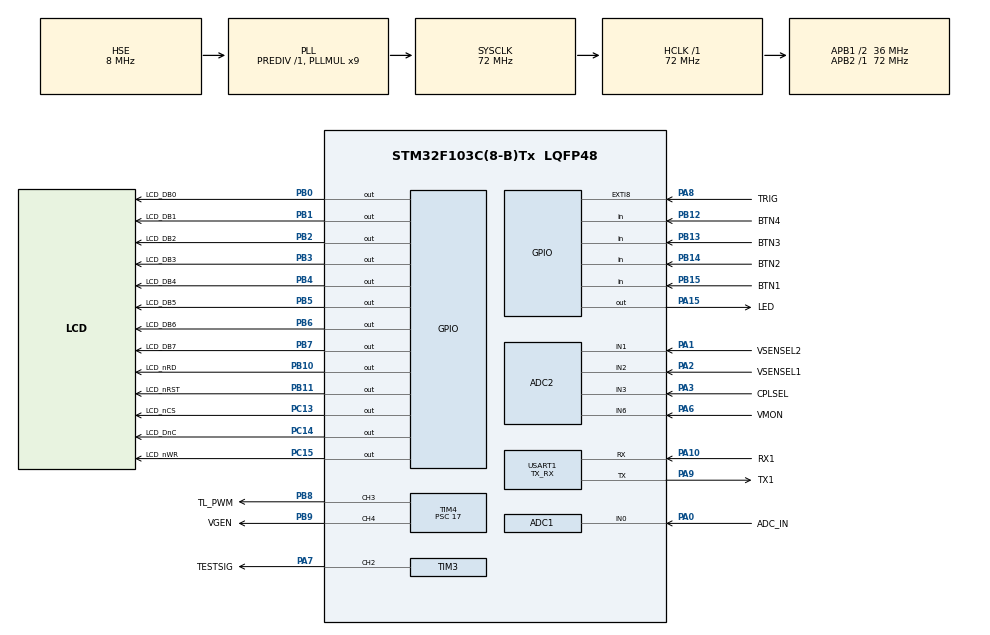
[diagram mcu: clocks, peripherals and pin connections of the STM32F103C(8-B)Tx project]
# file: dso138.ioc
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ADC1.Channel-3\#ChannelRegularConversion=ADC_CHANNEL_0
ADC1.ContinuousConvMode=DISABLE
ADC1.EnableRegularConversion=ENABLE
ADC1.ExternalTrigConv=ADC_EXTERNALTRIGCONV_T2_CC2
ADC1.InjNumberOfConversion=0
ADC1.NbrOfConversion=1
ADC1.NbrOfConversionFlag=1
ADC1.Rank-3\#ChannelRegularConversion=1
ADC1.SamplingTime-3\#ChannelRegularConversion=ADC_SAMPLETIME_1CYCLE_5
ADC1.master=1
ADC2.Channel-1\#ChannelRegularConversion=ADC_CHANNEL_1
ADC2.ContinuousConvMode=ENABLE
ADC2.NbrOfConversion=1
ADC2.NbrOfConversionFlag=1
ADC2.Rank-1\#ChannelRegularConversion=1
ADC2.SamplingTime-1\#ChannelRegularConversion=ADC_SAMPLETIME_1CYCLE_5
Dma.ADC1.0.Direction=DMA_PERIPH_TO_MEMORY
Dma.ADC1.0.Instance=DMA1_Channel1
Dma.ADC1.0.MemDataAlignment=DMA_MDATAALIGN_HALFWORD
Dma.ADC1.0.MemInc=DMA_MINC_ENABLE
Dma.ADC1.0.Mode=DMA_CIRCULAR
Dma.ADC1.0.PeriphDataAlignment=DMA_PDATAALIGN_HALFWORD
Dma.ADC1.0.PeriphInc=DMA_PINC_DISABLE
Dma.ADC1.0.Priority=DMA_PRIORITY_HIGH
Dma.Request0=ADC1
FREERTOS.BinarySemaphores01=sem_adc_done,Dynamic,NULL
FREERTOS.HEAP_NUMBER=1
FREERTOS.INCLUDE_uxTaskPriorityGet=0
FREERTOS.INCLUDE_vTaskDelayUntil=1
FREERTOS.INCLUDE_vTaskDelete=0
FREERTOS.INCLUDE_vTaskPrioritySet=0
FREERTOS.INCLUDE_vTaskSuspend=0
FREERTOS.MEMORY_ALLOCATION=0
FREERTOS.Queues01=queue_adc_request,1,tQueueAdcRequest,0,Dynamic,NULL,NULL;queue_buttons_event,4,tWidgetEvent,0,Dynamic,NULL,NULL
FREERTOS.Tasks01=defaultTask,0,128,StartDefaultTask,Default,NULL,Dynamic,NULL,NULL;adc,2,128,task_adc,As external,NULL,Dynamic,NULL,NULL;imgui,-2,128,task_imgui,As external,NULL,Dynamic,NULL,NULL;user_input,-2,128,task_user_input,As external,NULL,Dynamic,NULL,NULL;dso,0,128,task_dso,As external,NULL,Dynamic,NULL,NULL
FREERTOS.configTOTAL_HEAP_SIZE=4000
FREERTOS.configUSE_TASK_NOTIFICATIONS=0
Mcu.Family=STM32F1
Mcu.Name=STM32F103C(8-B)Tx
Mcu.Package=LQFP48
NVIC.DMA1_Channel1_IRQn=true\:7\:0\:true\:false\:true\:true\:false\:true
NVIC.EXTI9_5_IRQn=true\:6\:0\:true\:false\:true\:true\:true\:true
NVIC.PriorityGroup=NVIC_PRIORITYGROUP_4
NVIC.TIM1_UP_IRQn=true\:0\:0\:false\:false\:true\:false\:false\:true
NVIC.TimeBase=TIM1_UP_IRQn
NVIC.TimeBaseIP=TIM1
NVIC.USART1_IRQn=true\:6\:0\:true\:false\:true\:true\:true\:true
PA0-WKUP.GPIO_Label=ADC_IN
PA0-WKUP.Signal=ADCx_IN0
PA1.GPIO_Label=VSENSEL2
PA1.Signal=ADCx_IN1
PA10.GPIO_Label=RX1
PA10.Mode=Asynchronous
PA10.Signal=USART1_RX
PA13.GPIO_Label=SWDIO
PA13.Mode=Serial_Wire
PA13.Signal=SYS_JTMS-SWDIO
PA14.GPIO_Label=SWCLK
PA14.Mode=Serial_Wire
PA14.Signal=SYS_JTCK-SWCLK
PA15.GPIO_Label=LED
PA15.PinState=GPIO_PIN_SET
PA15.Signal=GPIO_Output
PA2.GPIO_Label=VSENSEL1
PA2.Signal=ADCx_IN2
PA3.GPIO_Label=CPLSEL
PA3.Signal=ADCx_IN3
PA6.GPIO_Label=VMON
PA6.Signal=ADCx_IN6
PA7.GPIO_Label=TESTSIG
PA7.GPIO_Speed=GPIO_SPEED_FREQ_HIGH
PA7.Signal=S_TIM3_CH2
PA8.GPIO_Label=TRIG
PA8.GPIO_ModeDefaultEXTI=GPIO_MODE_IT_RISING
PA8.Signal=GPXTI8
PA9.GPIO_Label=TX1
PA9.Mode=Asynchronous
PA9.Signal=USART1_TX
PB0.GPIO_Label=LCD_DB0
PB0.GPIO_Speed=GPIO_SPEED_FREQ_HIGH
PB0.Signal=GPIO_Output
PB1.GPIO_Label=LCD_DB1
PB1.GPIO_Speed=GPIO_SPEED_FREQ_HIGH
PB1.Signal=GPIO_Output
PB10.GPIO_Label=LCD_nRD
PB10.GPIO_Speed=GPIO_SPEED_FREQ_HIGH
PB10.PinState=GPIO_PIN_SET
PB10.Signal=GPIO_Output
PB11.GPIO_Label=LCD_nRST
PB11.GPIO_Speed=GPIO_SPEED_FREQ_HIGH
PB11.Signal=GPIO_Output
PB12.GPIO_Label=BTN4
PB12.GPIO_PuPd=GPIO_PULLUP
PB12.Signal=GPIO_Input
PB13.GPIO_Label=BTN3
PB13.GPIO_PuPd=GPIO_PULLUP
PB13.Signal=GPIO_Input
PB14.GPIO_Label=BTN2
PB14.GPIO_PuPd=GPIO_PULLUP
PB14.Signal=GPIO_Input
PB15.GPIO_Label=BTN1
PB15.GPIO_PuPd=GPIO_PULLUP
PB15.Signal=GPIO_Input
PB2.GPIO_Label=LCD_DB2
PB2.GPIO_Speed=GPIO_SPEED_FREQ_HIGH
PB2.Signal=GPIO_Output
PB3.GPIO_Label=LCD_DB3
PB3.GPIO_Speed=GPIO_SPEED_FREQ_HIGH
PB3.Signal=GPIO_Output
PB4.GPIO_Label=LCD_DB4
PB4.GPIO_Speed=GPIO_SPEED_FREQ_HIGH
PB4.Signal=GPIO_Output
PB5.GPIO_Label=LCD_DB5
PB5.GPIO_Speed=GPIO_SPEED_FREQ_HIGH
PB5.Signal=GPIO_Output
PB6.GPIO_Label=LCD_DB6
PB6.GPIO_Speed=GPIO_SPEED_FREQ_HIGH
PB6.Signal=GPIO_Output
PB7.GPIO_Label=LCD_DB7
PB7.GPIO_Speed=GPIO_SPEED_FREQ_HIGH
PB7.Signal=GPIO_Output
PB8.GPIO_Label=TL_PWM
PB8.Signal=S_TIM4_CH3
PB9.GPIO_Label=VGEN
PB9.Signal=S_TIM4_CH4
PC13-TAMPER-RTC.GPIO_Label=LCD_nCS
PC13-TAMPER-RTC.GPIO_Speed=GPIO_SPEED_FREQ_HIGH
PC13-TAMPER-RTC.PinState=GPIO_PIN_SET
PC13-TAMPER-RTC.Signal=GPIO_Output
PC14-OSC32_IN.GPIO_Label=LCD_DnC
PC14-OSC32_IN.GPIO_Speed=GPIO_SPEED_FREQ_HIGH
PC14-OSC32_IN.PinState=GPIO_PIN_SET
PC14-OSC32_IN.Signal=GPIO_Output
PC15-OSC32_OUT.GPIO_Label=LCD_nWR
PC15-OSC32_OUT.GPIO_Speed=GPIO_SPEED_FREQ_HIGH
PC15-OSC32_OUT.PinState=GPIO_PIN_SET
PC15-OSC32_OUT.Signal=GPIO_Output
PD0-OSC_IN.GPIO_Label=OSC_IN
PD0-OSC_IN.Mode=HSE-External-Oscillator
PD0-OSC_IN.Signal=RCC_OSC_IN
PD1-OSC_OUT.GPIO_Label=OSC_OUT
PD1-OSC_OUT.Mode=HSE-External-Oscillator
PD1-OSC_OUT.Signal=RCC_OSC_OUT
ProjectManager.HeapSize=0x200
ProjectManager.StackSize=0x400
ProjectManager.TargetToolchain=STM32CubeIDE
RCC.ADCPresc=RCC_ADCPCLK2_DIV6
RCC.AHBFreq_Value=72000000
RCC.APB1CLKDivider=RCC_HCLK_DIV2
RCC.APB1Freq_Value=36000000
RCC.APB1TimFreq_Value=72000000
RCC.APB2Freq_Value=72000000
RCC.APB2TimFreq_Value=72000000
RCC.HCLKFreq_Value=72000000
RCC.PLLMUL=RCC_PLL_MUL9
RCC.PLLSourceVirtual=RCC_PLLSOURCE_HSE
RCC.SYSCLKFreq_VALUE=72000000
RCC.SYSCLKSource=RCC_SYSCLKSOURCE_PLLCLK
RCC.USBFreq_Value=48000000
RCC.USBPrescaler=RCC_USBCLKSOURCE_PLL_DIV1_5
SH.ADCx_IN0.0=ADC1_IN0,IN0
SH.ADCx_IN1.0=ADC2_IN1,IN1
SH.ADCx_IN2.0=ADC2_IN2,IN2
SH.ADCx_IN3.0=ADC2_IN3,IN3
SH.ADCx_IN6.0=ADC2_IN6,IN6
SH.S_TIM3_CH2.0=TIM3_CH2,PWM Generation2 CH2
SH.S_TIM4_CH3.0=TIM4_CH3,PWM Generation3 CH3
SH.S_TIM4_CH4.0=TIM4_CH4,PWM Generation4 CH4
TIM2.Channel-PWM\ Generation2\ No\ Output=TIM_CHANNEL_2
TIM2.Period=3
TIM2.Prescaler=35
TIM2.Pulse-PWM\ Generation2\ No\ Output=1
TIM2.TIM_MasterOutputTrigger=TIM_TRGO_OC2REF
TIM2.TIM_MasterSlaveMode=TIM_MASTERSLAVEMODE_DISABLE
TIM3.Channel-PWM\ Generation2\ CH2=TIM_CHANNEL_2
TIM3.CounterMode=TIM_COUNTERMODE_UP
TIM3.Period=99
TIM3.Prescaler=71
TIM3.Pulse-PWM\ Generation2\ CH2=49
TIM4.Channel-PWM\ Generation3\ CH3=TIM_CHANNEL_3
TIM4.Channel-PWM\ Generation4\ CH4=TIM_CHANNEL_4
TIM4.Period=399
TIM4.Prescaler=17
TIM4.Pulse-PWM\ Generation3\ CH3=199
TIM4.Pulse-PWM\ Generation4\ CH4=49
USART1.Mode=MODE_TX_RX
USART1.VirtualMode=VM_ASYNC
VP_FREERTOS_VS_CMSIS_V1.Mode=CMSIS_V1
VP_SYS_VS_tim1.Mode=TIM1
VP_TIM2_VS_ClockSourceINT.Mode=Internal
VP_TIM2_VS_no_output2.Mode=PWM Generation2 No Output
VP_TIM3_VS_ClockSourceINT.Mode=Internal
VP_TIM4_VS_ClockSourceINT.Mode=Internal
board=custom

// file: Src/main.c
/* USER CODE BEGIN Header */
/**
 ******************************************************************************
 * @file           : main.c
 * @brief          : Main program body
 ******************************************************************************
 * @attention
 *
 * <h2><center>&copy; Copyright (c) 2020 STMicroelectronics.
 * All rights reserved.</center></h2>
 *
 * This software component is licensed by ST under BSD 3-Clause license,
 * the "License"; You may not use this file except in compliance with the
 * License. You may obtain a copy of the License at:
 *                        opensource.org/licenses/BSD-3-Clause
 *
 ******************************************************************************
 */
/* USER CODE END Header */

#include "main.h"
#include "cmsis_os.h"
#include "adc.h"
#include "dma.h"
#include "tim.h"
#include "usart.h"
#include "gpio.h"

/* USER CODE BEGIN Includes */
#include "ticks_cpu.h"
#include "uart_printf.h"

/*
ADC_IN	ADC1 IN0
SENSEL1 ADC2 IN1
SENSEL2 ADC2 IN2
CPLSEL  ADC2 IN3
VMON	ADC2 IN6
TRIG	PA8  EXTI8
LED 	PA15 (TIM2 CH1)

ADC_CLK	TIM2 35 3 	CH2 PWM 1
TESTSIG	TIM3 71 999 CH2 PWM 499
TL_PWM	TIM4 17 399 CH3 PWM 199
VGEN	""			CH4 PWM 49
*/

/* USER CODE END Includes */

void SystemClock_Config(void);
void MX_FREERTOS_Init(void);

int main(void)
{

  /* MCU Configuration--------------------------------------------------------*/

  /* Reset of all peripherals, Initializes the Flash interface and the Systick. */
  HAL_Init();

  /* Configure the system clock */
  SystemClock_Config();

  /* Initialize all configured peripherals */
  MX_GPIO_Init();
  MX_DMA_Init();
  MX_ADC2_Init();
  MX_USART1_UART_Init();
  MX_TIM3_Init();
  MX_ADC1_Init();
  MX_TIM4_Init();
  MX_TIM2_Init();
  /* USER CODE BEGIN 2 */
//extern void test_fft(void);
//test_fft();
	uart_printf( &huart1, "idso " __DATE__ "\r\n" );

	ticks_cpu_enable();

	__HAL_DBGMCU_FREEZE_TIM2();
	__HAL_DBGMCU_FREEZE_TIM3();
	__HAL_DBGMCU_FREEZE_TIM4();

	HAL_TIM_PWM_Start( &htim2, TIM_CHANNEL_2 ); // ADC_CLK
	HAL_TIM_PWM_Start( &htim3, TIM_CHANNEL_2 ); // TESTSIG

	HAL_ADCEx_Calibration_Start( &hadc1 );
	HAL_ADCEx_Calibration_Start( &hadc2 );

  /* USER CODE END 2 */

  /* Call init function for freertos objects (in freertos.c) */
  MX_FREERTOS_Init();

  /* Start scheduler */
  osKernelStart();

  /* We should never get here as control is now taken by the scheduler */

  /* Infinite loop */
  while (1)
  {

  }
}

void SystemClock_Config(void)
{
  RCC_OscInitTypeDef RCC_OscInitStruct = {0};
  RCC_ClkInitTypeDef RCC_ClkInitStruct = {0};
  RCC_PeriphCLKInitTypeDef PeriphClkInit = {0};

  /** Initializes the CPU, AHB and APB busses clocks
  */
  RCC_OscInitStruct.OscillatorType = RCC_OSCILLATORTYPE_HSE;
  RCC_OscInitStruct.HSEState = RCC_HSE_ON;
  RCC_OscInitStruct.HSEPredivValue = RCC_HSE_PREDIV_DIV1;
  RCC_OscInitStruct.HSIState = RCC_HSI_ON;
  RCC_OscInitStruct.PLL.PLLState = RCC_PLL_ON;
  RCC_OscInitStruct.PLL.PLLSource = RCC_PLLSOURCE_HSE;
  RCC_OscInitStruct.PLL.PLLMUL = RCC_PLL_MUL9;
  if (HAL_RCC_OscConfig(&RCC_OscInitStruct) != HAL_OK)
  {
    Error_Handler();
  }
  /** Initializes the CPU, AHB and APB busses clocks
  */
  RCC_ClkInitStruct.ClockType = RCC_CLOCKTYPE_HCLK|RCC_CLOCKTYPE_SYSCLK
                              |RCC_CLOCKTYPE_PCLK1|RCC_CLOCKTYPE_PCLK2;
  RCC_ClkInitStruct.SYSCLKSource = RCC_SYSCLKSOURCE_PLLCLK;
  RCC_ClkInitStruct.AHBCLKDivider = RCC_SYSCLK_DIV1;
  RCC_ClkInitStruct.APB1CLKDivider = RCC_HCLK_DIV2;
  RCC_ClkInitStruct.APB2CLKDivider = RCC_HCLK_DIV1;

  if (HAL_RCC_ClockConfig(&RCC_ClkInitStruct, FLASH_LATENCY_2) != HAL_OK)
  {
    Error_Handler();
  }
  PeriphClkInit.PeriphClockSelection = RCC_PERIPHCLK_ADC;
  PeriphClkInit.AdcClockSelection = RCC_ADCPCLK2_DIV4;//6
  if (HAL_RCCEx_PeriphCLKConfig(&PeriphClkInit) != HAL_OK)
  {
    Error_Handler();
  }
}

void HAL_TIM_PeriodElapsedCallback(TIM_HandleTypeDef *htim)
{
  if (htim->Instance == TIM1) {
    HAL_IncTick();
  }
}

void Error_Handler(void)
{
  /* USER CODE BEGIN Error_Handler_Debug */
	/* User can add his own implementation to report the HAL error return state */
	while (1)
		;
  /* USER CODE END Error_Handler_Debug */
}

/************************ (C) COPYRIGHT STMicroelectronics *****END OF FILE****/

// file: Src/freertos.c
/* USER CODE BEGIN Header */
/**
  ******************************************************************************
  * File Name          : freertos.c
  * Description        : Code for freertos applications
  ******************************************************************************
  * @attention
  *
  * <h2><center>&copy; Copyright (c) 2020 STMicroelectronics.
  * All rights reserved.</center></h2>
  *
  * This software component is licensed by ST under Ultimate Liberty license
  * SLA0044, the "License"; You may not use this file except in compliance with
  * the License. You may obtain a copy of the License at:
  *                             www.st.com/SLA0044
  *
  ******************************************************************************
  */
/* USER CODE END Header */

#include "FreeRTOS.h"
#include "task.h"
#include "main.h"
#include "cmsis_os.h"

/* USER CODE BEGIN Includes */
#include "task_adc.h"
#include "task_dso.h"
#include "task_imgui.h"
#include "task_user_input.h"
#include "task_power_supply.h"

/* USER CODE END Includes */

osThreadId defaultTaskHandle;

osThreadId adcHandle;
osThreadId dsoHandle;
osThreadId uiHandle;
osThreadId btnHandle;
osThreadId psuHandle;

osMessageQId q_adcHandle;
osMessageQId q_dso_adcHandle;
osMessageQId q_uiHandle;
osMessageQId q_dso_uiHandle;
osMessageQId q_btnHandle;
osMessageQId q_selHandle;

osSemaphoreId s_widgetsHandle;
osSemaphoreId s_bufferHandle;
osSemaphoreId s_lcdHandle;
osSemaphoreId s_adc2Handle;

void StartDefaultTask(void const * argument);
/*extern void task_adc(void const * argument);
extern void task_imgui(void const * argument);
extern void task_user_input(void const * argument);
extern void task_dso(void const * argument);
extern void task_power_supply(void const * argument);
*/

void MX_FREERTOS_Init(void); /* (MISRA C 2004 rule 8.1) */

void MX_FREERTOS_Init(void) {

  /* Create the semaphores(s) */
  /* definition and creation of sem_adc_done */
  osSemaphoreDef(s_widgets);
  s_widgetsHandle = osSemaphoreCreate(osSemaphore(s_widgets), 1);
  osSemaphoreDef(s_buffer);
  s_bufferHandle = osSemaphoreCreate(osSemaphore(s_buffer), 1);
  osSemaphoreDef(s_lcd);
  s_lcdHandle = osSemaphoreCreate(osSemaphore(s_lcd), 1);
  osSemaphoreDef(s_adc2);
  s_adc2Handle = osSemaphoreCreate(osSemaphore(s_adc2), 1);

  /* Create the queue(s) */
  /* definition and creation of queue_adc_request */
  osMessageQDef( q_adc, 1, uint32_t );
  q_adcHandle = osMessageCreate(osMessageQ(q_adc), NULL);
  osMessageQDef( q_dso_adc, 1, uint32_t );
  q_dso_adcHandle = osMessageCreate(osMessageQ(q_dso_adc), NULL);
  osMessageQDef( q_ui, 4, uint32_t );
  q_uiHandle = osMessageCreate(osMessageQ(q_ui), NULL);
  osMessageQDef( q_dso_ui, 4, uint32_t );
  q_dso_uiHandle = osMessageCreate(osMessageQ(q_dso_ui), NULL);
  osMessageQDef( q_btn, 4, uint32_t );
  q_btnHandle = osMessageCreate(osMessageQ(q_btn), NULL);
  osMessageQDef( q_sel, 4, uint32_t );
  q_selHandle = osMessageCreate(osMessageQ(q_sel), NULL);
  /* definition and creation of queue_buttons_event */

  /* Create the thread(s) */
  /* definition and creation of defaultTask */
  osThreadDef(defaultTask, StartDefaultTask, osPriorityIdle, 0, 128);
  defaultTaskHandle = osThreadCreate(osThread(defaultTask), NULL);

  /* definition and creation of adc */
  osThreadDef(adc, task_adc, osPriorityHigh, 0, 128+64);
  adcHandle = osThreadCreate(osThread(adc), NULL);

  /* definition and creation of imgui */
  osThreadDef(ui, task_imgui, osPriorityLow, 0, 128);
  uiHandle = osThreadCreate(osThread(ui), NULL);

  /* definition and creation of user_input */
  osThreadDef(btn, task_user_input, osPriorityLow, 0, 128);
  btnHandle = osThreadCreate(osThread(btn), NULL);

  /* definition and creation of dso */
  osThreadDef(dso, task_dso, osPriorityNormal, 0, 128);
  dsoHandle = osThreadCreate(osThread(dso), NULL);

  /* definition and creation of psu */
  osThreadDef(psu, task_psu, osPriorityHigh, 0, 128);
  psuHandle = osThreadCreate(osThread(psu), NULL);

}

void StartDefaultTask(void const * argument)
{

  for(;;)
  {
    osDelay(1);
  }
}

/************************ (C) COPYRIGHT STMicroelectronics *****END OF FILE****/
